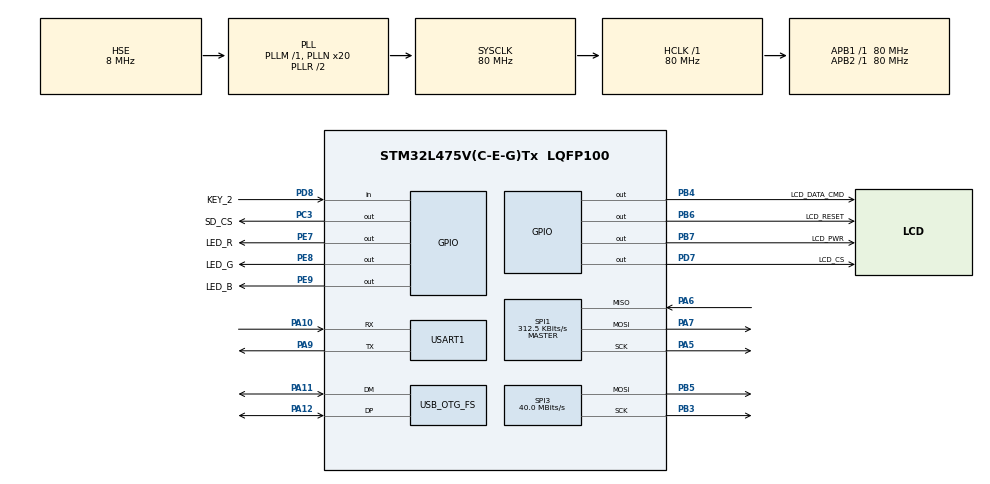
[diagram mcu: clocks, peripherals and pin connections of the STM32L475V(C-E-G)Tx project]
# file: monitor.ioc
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Dma.Request0=SPI3_TX
Dma.Request1=USART1_TX
Dma.SPI3_TX.0.Direction=DMA_MEMORY_TO_PERIPH
Dma.SPI3_TX.0.Instance=DMA2_Channel2
Dma.SPI3_TX.0.MemDataAlignment=DMA_MDATAALIGN_BYTE
Dma.SPI3_TX.0.MemInc=DMA_MINC_ENABLE
Dma.SPI3_TX.0.Mode=DMA_NORMAL
Dma.SPI3_TX.0.PeriphDataAlignment=DMA_PDATAALIGN_BYTE
Dma.SPI3_TX.0.PeriphInc=DMA_PINC_DISABLE
Dma.SPI3_TX.0.Priority=DMA_PRIORITY_HIGH
Dma.USART1_TX.1.Direction=DMA_MEMORY_TO_PERIPH
Dma.USART1_TX.1.Instance=DMA1_Channel4
Dma.USART1_TX.1.MemDataAlignment=DMA_MDATAALIGN_BYTE
Dma.USART1_TX.1.MemInc=DMA_MINC_ENABLE
Dma.USART1_TX.1.Mode=DMA_NORMAL
Dma.USART1_TX.1.PeriphDataAlignment=DMA_PDATAALIGN_BYTE
Dma.USART1_TX.1.PeriphInc=DMA_PINC_DISABLE
Dma.USART1_TX.1.Priority=DMA_PRIORITY_LOW
Mcu.Family=STM32L4
Mcu.Name=STM32L475V(C-E-G)Tx
Mcu.Package=LQFP100
NVIC.DMA1_Channel4_IRQn=true\:3\:0\:true\:false\:true\:false\:true
NVIC.DMA2_Channel2_IRQn=true\:0\:0\:false\:false\:true\:false\:true
NVIC.OTG_FS_IRQn=true\:0\:0\:false\:false\:true\:false\:true
NVIC.PriorityGroup=NVIC_PRIORITYGROUP_4
NVIC.SPI3_IRQn=true\:5\:0\:true\:false\:true\:true\:true
NVIC.TIM6_DAC_IRQn=true\:4\:0\:true\:false\:true\:true\:true
NVIC.USART1_IRQn=true\:6\:0\:true\:false\:true\:true\:true
PA10.Mode=Asynchronous
PA10.Signal=USART1_RX
PA11.Mode=Device_Only
PA11.Signal=USB_OTG_FS_DM
PA12.Mode=Device_Only
PA12.Signal=USB_OTG_FS_DP
PA13\ (JTMS-SWDIO).Mode=Serial_Wire
PA13\ (JTMS-SWDIO).Signal=SYS_JTMS-SWDIO
PA14\ (JTCK-SWCLK).Mode=Serial_Wire
PA14\ (JTCK-SWCLK).Signal=SYS_JTCK-SWCLK
PA5.Mode=Full_Duplex_Master
PA5.Signal=SPI1_SCK
PA6.Mode=Full_Duplex_Master
PA6.Signal=SPI1_MISO
PA7.Mode=Full_Duplex_Master
PA7.Signal=SPI1_MOSI
PA9.Mode=Asynchronous
PA9.Signal=USART1_TX
PB3\ (JTDO-TRACESWO).Mode=TX_Only_Simplex_Unidirect_Master
PB3\ (JTDO-TRACESWO).Signal=SPI3_SCK
PB4\ (NJTRST).GPIO_Label=LCD_DATA_CMD
PB4\ (NJTRST).GPIO_Speed=GPIO_SPEED_FREQ_VERY_HIGH
PB4\ (NJTRST).Signal=GPIO_Output
PB5.Mode=TX_Only_Simplex_Unidirect_Master
PB5.Signal=SPI3_MOSI
PB6.GPIO_Label=LCD_RESET
PB6.GPIO_Speed=GPIO_SPEED_FREQ_LOW
PB6.Signal=GPIO_Output
PB7.GPIO_Label=LCD_PWR
PB7.Signal=GPIO_Output
PC3.GPIO_Label=SD_CS
PC3.GPIO_Speed=GPIO_SPEED_FREQ_VERY_HIGH
PC3.PinState=GPIO_PIN_SET
PC3.Signal=GPIO_Output
PD7.GPIO_Label=LCD_CS
PD7.GPIO_Speed=GPIO_SPEED_FREQ_VERY_HIGH
PD7.Signal=GPIO_Output
PD8.GPIO_Label=KEY_2
PD8.Signal=GPIO_Input
PE7.GPIO_Label=LED_R
PE7.GPIO_Speed=GPIO_SPEED_FREQ_MEDIUM
PE7.PinState=GPIO_PIN_SET
PE7.Signal=GPIO_Output
PE8.GPIO_Label=LED_G
PE8.GPIO_Speed=GPIO_SPEED_FREQ_MEDIUM
PE8.PinState=GPIO_PIN_SET
PE8.Signal=GPIO_Output
PE9.GPIO_Label=LED_B
PE9.GPIO_Speed=GPIO_SPEED_FREQ_MEDIUM
PE9.PinState=GPIO_PIN_SET
PE9.Signal=GPIO_Output
PH0-OSC_IN\ (PH0).Mode=HSE-External-Oscillator
PH0-OSC_IN\ (PH0).Signal=RCC_OSC_IN
PH1-OSC_OUT\ (PH1).Mode=HSE-External-Oscillator
PH1-OSC_OUT\ (PH1).Signal=RCC_OSC_OUT
ProjectManager.HeapSize=0x200
ProjectManager.StackSize=0x400
ProjectManager.TargetToolchain=STM32CubeIDE
RCC.ADCFreq_Value=48000000
RCC.AHBFreq_Value=80000000
RCC.APB1Freq_Value=80000000
RCC.APB1TimFreq_Value=80000000
RCC.APB2Freq_Value=80000000
RCC.APB2TimFreq_Value=80000000
RCC.CortexFreq_Value=80000000
RCC.HCLKFreq_Value=80000000
RCC.HSE_VALUE=8000000
RCC.HSI_VALUE=16000000
RCC.LSE_VALUE=32768
RCC.MSI_VALUE=4000000
RCC.PLLN=20
RCC.PLLQ=RCC_PLLQ_DIV4
RCC.PLLSAI1N=12
RCC.PLLSourceVirtual=RCC_PLLSOURCE_HSE
RCC.SYSCLKFreq_VALUE=80000000
RCC.SYSCLKSource=RCC_SYSCLKSOURCE_PLLCLK
RCC.USBFreq_Value=48000000
RCC.VCOOutputFreq_Value=160000000
SPI1.BaudRatePrescaler=SPI_BAUDRATEPRESCALER_256
SPI1.CLKPhase=SPI_PHASE_2EDGE
SPI1.CLKPolarity=SPI_POLARITY_HIGH
SPI1.CalculateBaudRate=312.5 KBits/s
SPI1.DataSize=SPI_DATASIZE_8BIT
SPI1.Direction=SPI_DIRECTION_2LINES
SPI1.Mode=SPI_MODE_MASTER
SPI1.VirtualType=VM_MASTER
SPI3.BaudRatePrescaler=SPI_BAUDRATEPRESCALER_2
SPI3.CLKPhase=SPI_PHASE_2EDGE
SPI3.CLKPolarity=SPI_POLARITY_HIGH
SPI3.CalculateBaudRate=40.0 MBits/s
SPI3.DataSize=SPI_DATASIZE_8BIT
SPI3.Direction=SPI_DIRECTION_2LINES
SPI3.Mode=SPI_MODE_MASTER
SPI3.VirtualType=VM_MASTER
TIM6.AutoReloadPreload=TIM_AUTORELOAD_PRELOAD_ENABLE
TIM6.Period=9
TIM6.Prescaler=79
TIM6.TIM_MasterOutputTrigger=TIM_TRGO_RESET
USART1.VirtualMode-Asynchronous=VM_ASYNC
USB_DEVICE.CLASS_NAME_FS=CUSTOM_HID
USB_DEVICE.CONFIGURATION_STRING_CUSTOMHID_FS=LCD_Monitor
USB_DEVICE.INTERFACE_STRING_CUSTOMHID_FS=LCD_Monitor
USB_DEVICE.MANUFACTURER_STRING=LCD_Monitor
USB_DEVICE.PID_CUSTOMHID_FS=22001
USB_DEVICE.PRODUCT_STRING_CUSTOMHID_FS=LCD_Monitor
USB_DEVICE.USBD_CUSTOMHID_OUTREPORT_BUF_SIZE=3
USB_DEVICE.USBD_CUSTOM_HID_REPORT_DESC_SIZE=3
USB_DEVICE.VID=0xee1e
USB_DEVICE.VirtualMode=CustomHid
USB_DEVICE.VirtualModeFS=Custom_Hid_FS
USB_OTG_FS.VirtualMode=Device_Only
VP_FATFS_VS_Generic.Mode=User_defined
VP_TIM6_VS_ClockSourceINT.Mode=Enable_Timer
VP_USB_DEVICE_VS_USB_DEVICE_CUSTOM_HID_FS.Mode=CUSTOM_HID_FS
board=custom

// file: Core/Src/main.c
/* USER CODE BEGIN Header */
/**
  ******************************************************************************
  * @file           : main.c
  * @brief          : Main program body
  ******************************************************************************
  * @attention
  *
  * Copyright (c) 2022 STMicroelectronics.
  * All rights reserved.
  *
  * This software is licensed under terms that can be found in the LICENSE file
  * in the root directory of this software component.
  * If no LICENSE file comes with this software, it is provided AS-IS.
  *
  ******************************************************************************
  */
/* USER CODE END Header */
#include "main.h"
#include "dma.h"
#include "fatfs.h"
#include "spi.h"
#include "tim.h"
#include "usart.h"
#include "usb_device.h"
#include "gpio.h"

/* USER CODE BEGIN Includes */
#include "lcd.h"
#include "lvgl.h"
#include "lv_port_disp.h"
#include "gui.h"
/* USER CODE END Includes */

void SystemClock_Config(void);
/* USER CODE BEGIN PFP */
uint8_t pwn_B = 90;
void HAL_TIM_PeriodElapsedCallback(TIM_HandleTypeDef *htim)
{
	if(htim == &htim6)
	{
		static uint8_t cycle;
		cycle ++;
		if(cycle > 100) cycle = 0;
		if(pwn_B <= cycle)
		{
			//LCD_PWR_OFF;
			//HAL_GPIO_WritePin(GPIOE, LED_B_Pin, GPIO_PIN_SET);
		}else{
			//LCD_PWR_ON;
			//HAL_GPIO_WritePin(GPIOE, LED_B_Pin, GPIO_PIN_RESET);
		}
	}
}
/* USER CODE END PFP */

/* USER CODE BEGIN 0 */
uint8_t color_buffer[960];
/* USER CODE END 0 */

int main(void)
{

  /* MCU Configuration--------------------------------------------------------*/

  /* Reset of all peripherals, Initializes the Flash interface and the Systick. */
  HAL_Init();

  /* Configure the system clock */
  SystemClock_Config();

  /* USER CODE BEGIN SysInit */
  MX_DMA_Init();
  /* USER CODE END SysInit */

  /* Initialize all configured peripherals */
  MX_GPIO_Init();
  MX_SPI3_Init();
  MX_DMA_Init();
  MX_USART1_UART_Init();
  MX_SPI1_Init();
  MX_FATFS_Init();
  MX_TIM6_Init();
  MX_USB_DEVICE_Init();
  /* USER CODE BEGIN 2 */
  lcd_init();
  lv_init();
  lv_port_disp_init();
  gui_init();
  HAL_TIM_Base_Start_IT(&htim6);
  /* USER CODE END 2 */

  /* Infinite loop */
  while (1)
  {

    /* USER CODE BEGIN 3 */
	  lv_task_handler();
	  HAL_Delay(1);
//	  HAL_GPIO_TogglePin(GPIOE, LED_G_Pin);
	  if(HAL_GPIO_ReadPin(KEY_2_GPIO_Port, KEY_2_Pin) == GPIO_PIN_RESET)
	  {
		  HAL_Delay(10);
		  if(HAL_GPIO_ReadPin(KEY_2_GPIO_Port, KEY_2_Pin) == GPIO_PIN_RESET)
		  {
			  pwn_B++;
			  if(pwn_B >= 100) pwn_B = 0;
			  while(HAL_GPIO_ReadPin(KEY_2_GPIO_Port, KEY_2_Pin) == GPIO_PIN_RESET);
		  }
	  }

  }
  /* USER CODE END 3 */
}

void SystemClock_Config(void)
{
  RCC_OscInitTypeDef RCC_OscInitStruct = {0};
  RCC_ClkInitTypeDef RCC_ClkInitStruct = {0};

  /** Configure the main internal regulator output voltage
  */
  if (HAL_PWREx_ControlVoltageScaling(PWR_REGULATOR_VOLTAGE_SCALE1) != HAL_OK)
  {
    Error_Handler();
  }
  /** Initializes the RCC Oscillators according to the specified parameters
  * in the RCC_OscInitTypeDef structure.
  */
  RCC_OscInitStruct.OscillatorType = RCC_OSCILLATORTYPE_HSE;
  RCC_OscInitStruct.HSEState = RCC_HSE_ON;
  RCC_OscInitStruct.PLL.PLLState = RCC_PLL_ON;
  RCC_OscInitStruct.PLL.PLLSource = RCC_PLLSOURCE_HSE;
  RCC_OscInitStruct.PLL.PLLM = 1;
  RCC_OscInitStruct.PLL.PLLN = 20;
  RCC_OscInitStruct.PLL.PLLP = RCC_PLLP_DIV7;
  RCC_OscInitStruct.PLL.PLLQ = RCC_PLLQ_DIV4;
  RCC_OscInitStruct.PLL.PLLR = RCC_PLLR_DIV2;
  if (HAL_RCC_OscConfig(&RCC_OscInitStruct) != HAL_OK)
  {
    Error_Handler();
  }
  /** Initializes the CPU, AHB and APB buses clocks
  */
  RCC_ClkInitStruct.ClockType = RCC_CLOCKTYPE_HCLK|RCC_CLOCKTYPE_SYSCLK
                              |RCC_CLOCKTYPE_PCLK1|RCC_CLOCKTYPE_PCLK2;
  RCC_ClkInitStruct.SYSCLKSource = RCC_SYSCLKSOURCE_PLLCLK;
  RCC_ClkInitStruct.AHBCLKDivider = RCC_SYSCLK_DIV1;
  RCC_ClkInitStruct.APB1CLKDivider = RCC_HCLK_DIV1;
  RCC_ClkInitStruct.APB2CLKDivider = RCC_HCLK_DIV1;

  if (HAL_RCC_ClockConfig(&RCC_ClkInitStruct, FLASH_LATENCY_4) != HAL_OK)
  {
    Error_Handler();
  }
}

void Error_Handler(void)
{
  __disable_irq();
  while (1)
  {
  }
}
